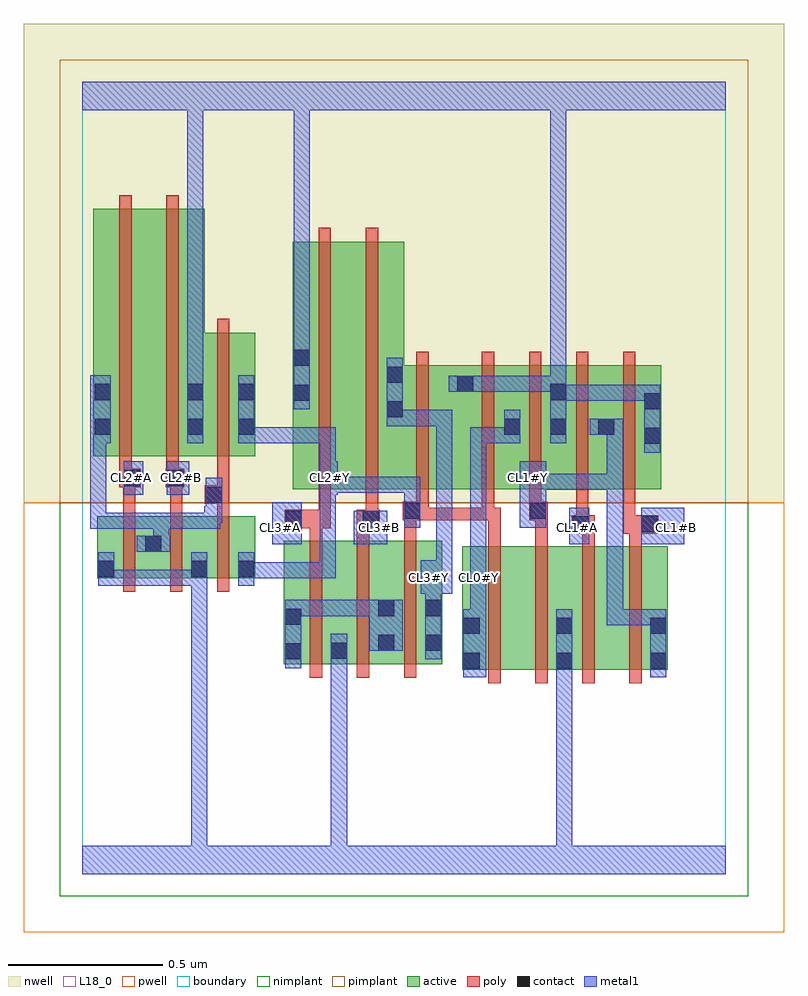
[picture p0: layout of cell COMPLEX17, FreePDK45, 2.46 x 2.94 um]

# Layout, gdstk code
import gdstk
lib = gdstk.Library(unit=1e-6, precision=1e-09)
def R(c, l, rs):  # rectangles x0, y0, x1, y1
    for r in rs: c.add(gdstk.rectangle(r[:2], r[2:], *l))
def A(c, l, x, y, w, h, nx, ny, dx, dy):  # array of equal rectangles
    R(c, l, [(x+i*dx, y+j*dy, x+i*dx+w, y+j*dy+h) for i in range(nx) for j in range(ny)])
active = (1, 0)
pwell = (2, 0)
nwell = (3, 0)
nimplant = (4, 0)
pimplant = (5, 0)
poly = (9, 0)
contact = (10, 0)
metal1 = (11, 0)
L18_0 = (18, 0)
boundary = (235, 0)

complex17 = lib.new_cell('COMPLEX17')
R(complex17, active, [(1.228,0.66,1.288,1.06), (1.228,0.66,1.408,1.06), (1.408,0.66,1.588,1.06), (1.528,0.66,1.588,1.06), (1.528,0.66,1.712,1.06), (1.712,0.66,1.892,1.06), (1.832,0.66,1.892,1.06), (0.652,0.678,0.712,1.078), (0.652,0.678,0.86,1.078), (0.8,0.678,1.012,1.078), (0.8,0.678,0.86,0.874), (0.952,0.678,1.164,1.078), (0.952,0.678,1.012,1.012), (1.104,0.678,1.164,1.078), (0.048,0.956,0.108,1.156), (0.048,0.956,0.26,1.156), (0.2,0.956,0.26,1.156), (0.2,0.956,0.408,1.156), (0.348,0.956,0.408,1.156), (0.348,0.956,0.56,1.156), (0.5,0.956,0.56,1.156), (0.68,1.244,0.86,2.044), (0.68,1.244,0.74,2.044), (0.86,1.244,1.04,2.044), (0.98,1.244,1.268,1.644), (1.208,1.244,1.42,1.644), (1.36,1.244,1.42,1.644), (1.36,1.244,1.568,1.644), (1.508,1.244,1.724,1.644), (1.664,1.244,1.872,1.644), (1.812,1.244,1.872,1.644), (0.036,1.35,0.216,2.15), (0.036,1.35,0.096,2.044), (0.216,1.35,0.396,2.15), (0.336,1.35,0.56,1.75), (0.5,1.35,0.56,1.644), (1.508,1.388,1.568,1.644), (0.98,1.39,1.04,2.044), (0.336,1.416,0.396,1.644), (1.664,1.416,1.724,1.644), (1.208,1.498,1.268,1.644)])
R(complex17, pwell, [(-0.188,-0.188,2.268,1.2)])
R(complex17, nwell, [(-0.188,1.2,2.268,2.748)])
R(complex17, nimplant, [(-0.072,-0.072,2.152,1.2)])
R(complex17, pimplant, [(-0.072,1.2,2.152,2.632)])
A(complex17, poly, 1.312, 0.616, 0.04, 0.488, 4, 1, 0.152, 0)
A(complex17, poly, 0.736, 0.634, 0.04, 0.488, 3, 1, 0.152, 0)
A(complex17, poly, 0.132, 0.912, 0.04, 0.288, 3, 1, 0.152, 0)
A(complex17, poly, 1.292, 1.2, 0.04, 0.488, 4, 1, 0.152, 0)
R(complex17, poly, [(1.312,1.064,1.352,1.184), (1.464,1.064,1.504,1.184), (1.616,1.064,1.656,1.14), (1.768,1.064,1.808,1.14), (0.736,1.082,0.776,1.158), (0.888,1.082,0.928,1.158), (1.04,1.082,1.08,1.184), (1.582,1.1,1.656,1.16), (1.748,1.1,1.862,1.16), (1.768,1.1,1.808,1.14), (1.768,1.1,1.808,1.14), (0.654,1.118,0.804,1.178), (0.736,1.118,0.776,1.158), (0.736,1.118,0.776,1.158), (0.888,1.118,0.962,1.178), (1.596,1.12,1.636,1.24), (1.596,1.12,1.636,1.16), (1.596,1.12,1.636,1.16), (1.748,1.12,1.788,1.24), (0.764,1.138,0.804,1.24), (0.916,1.138,0.956,1.178), (0.916,1.138,0.956,1.178), (0.916,1.138,0.956,1.24), (1.036,1.144,1.12,1.204), (1.04,1.144,1.08,1.184), (1.04,1.144,1.08,1.184), (1.04,1.144,1.08,1.184), (1.04,1.144,1.08,1.184), (1.04,1.144,1.332,1.184), (1.292,1.144,1.332,1.184), (1.292,1.144,1.332,1.184), (1.292,1.144,1.332,1.184), (1.292,1.144,1.332,1.184), (1.292,1.144,1.332,1.24), (1.292,1.144,1.352,1.184), (1.444,1.144,1.504,1.204), (1.464,1.144,1.504,1.184), (1.464,1.144,1.504,1.184), (0.132,1.16,0.172,1.29), (0.284,1.16,0.324,1.29), (0.436,1.16,0.476,1.236), (1.08,1.164,1.12,1.24), (1.444,1.164,1.484,1.24), (0.396,1.196,0.476,1.256), (0.764,1.2,0.804,2.088), (0.916,1.2,0.956,2.088), (1.08,1.2,1.12,1.688), (0.436,1.216,0.476,1.256), (0.436,1.216,0.476,1.256), (0.436,1.216,0.476,1.346), (0.12,1.25,0.19,1.31), (0.132,1.25,0.172,1.29), (0.132,1.25,0.172,1.29), (0.27,1.25,0.33,1.31), (0.284,1.25,0.324,1.29), (0.284,1.25,0.324,1.29), (0.12,1.27,0.16,1.346), (0.272,1.27,0.312,1.346), (0.12,1.306,0.16,2.194), (0.272,1.306,0.312,2.194), (0.436,1.306,0.476,1.794)])
R(complex17, contact, [(1.232,0.664,1.284,0.716), (1.532,0.664,1.584,0.716), (1.836,0.664,1.888,0.716), (0.656,0.694,0.708,0.746), (0.804,0.696,0.856,0.748), (0.956,0.722,1.008,0.774), (1.108,0.722,1.16,0.774), (1.232,0.776,1.284,0.828), (1.532,0.776,1.584,0.828), (1.836,0.776,1.888,0.828), (0.656,0.806,0.708,0.858), (0.956,0.834,1.008,0.886), (1.108,0.834,1.16,0.886), (0.052,0.96,0.104,1.012), (0.352,0.96,0.404,1.012), (0.504,0.96,0.556,1.012), (0.204,1.042,0.256,1.094), (1.586,1.104,1.638,1.156), (1.806,1.104,1.858,1.156), (0.658,1.122,0.71,1.174), (0.906,1.122,0.958,1.174), (1.04,1.148,1.092,1.2), (1.448,1.148,1.5,1.2), (0.4,1.2,0.452,1.252), (0.134,1.254,0.186,1.306), (0.274,1.254,0.326,1.306), (1.816,1.39,1.868,1.442), (0.04,1.42,0.092,1.472), (0.34,1.42,0.392,1.472), (0.504,1.42,0.556,1.472), (1.364,1.42,1.416,1.472), (1.512,1.42,1.564,1.472), (1.668,1.42,1.72,1.472), (0.984,1.476,1.036,1.528), (1.816,1.502,1.868,1.554), (0.684,1.53,0.736,1.582), (0.04,1.532,0.092,1.584), (0.34,1.532,0.392,1.584), (0.504,1.532,0.556,1.584), (1.512,1.532,1.564,1.584), (1.212,1.558,1.264,1.61), (0.984,1.588,1.036,1.64), (0.684,1.642,0.736,1.694)])
R(complex17, metal1, [(0,0,2.08,0.092), (0.352,0.04,0.404,0.092), (0.352,0.04,0.404,0.092), (0.352,0.04,0.404,0.092), (0.352,0.04,0.404,0.092), (0.352,0.04,0.404,0.092), (0.352,0.04,0.404,0.092), (0.352,0.04,0.404,0.092), (0.352,0.04,0.404,0.092), (0.352,0.04,0.404,0.092), (0.352,0.04,0.404,0.092), (0.352,0.04,0.404,0.092), (0.352,0.04,0.404,0.092), (0.352,0.04,0.404,0.092), (0.352,0.04,0.404,0.092), (0.352,0.04,0.404,0.092), (0.352,0.04,0.404,0.092), (0.352,0.04,0.404,0.984), (0.804,0.04,0.856,0.092), (0.804,0.04,0.856,0.092), (0.804,0.04,0.856,0.092), (0.804,0.04,0.856,0.092), (0.804,0.04,0.856,0.092), (0.804,0.04,0.856,0.092), (0.804,0.04,0.856,0.092), (0.804,0.04,0.856,0.092), (0.804,0.04,0.856,0.092), (0.804,0.04,0.856,0.092), (0.804,0.04,0.856,0.092), (0.804,0.04,0.856,0.092), (0.804,0.04,0.856,0.72), (1.532,0.04,1.584,0.092), (1.532,0.04,1.584,0.092), (1.532,0.04,1.584,0.092), (1.532,0.04,1.584,0.092), (1.532,0.04,1.584,0.092), (1.532,0.04,1.584,0.092), (1.532,0.04,1.584,0.092), (1.532,0.04,1.584,0.092), (1.532,0.04,1.584,0.092), (1.532,0.04,1.584,0.092), (1.532,0.04,1.584,0.092), (1.532,0.04,1.584,0.092), (1.532,0.04,1.584,0.688), (1.232,0.636,1.306,0.856), (1.532,0.636,1.584,0.856), (1.836,0.636,1.888,0.856), (0.656,0.666,0.708,0.886), (0.804,0.668,0.856,0.776), (1.108,0.694,1.16,0.914), (0.928,0.722,1.036,0.886), (1.254,0.804,1.306,0.958), (1.696,0.804,1.748,0.856), (1.696,0.804,1.888,0.856), (1.696,0.804,1.748,1.294), (1.836,0.804,1.888,0.856), (1.836,0.804,1.888,0.856), (1.836,0.804,1.888,0.856), (1.836,0.804,1.888,0.856), (0.656,0.834,0.818,0.886), (0.766,0.834,0.818,0.886), (0.766,0.834,0.818,0.886), (0.766,0.834,0.818,0.886), (0.766,0.834,0.98,0.886), (0.928,0.834,0.98,0.886), (0.928,0.834,0.98,0.886), (1.108,0.862,1.16,0.958), (1.094,0.906,1.196,1.014), (1.254,0.906,1.306,1.014), (0.052,0.932,0.104,0.984), (0.052,0.932,0.104,0.984), (0.052,0.932,0.214,0.984), (0.052,0.932,0.104,1.04), (0.162,0.932,0.214,0.984), (0.162,0.932,0.214,0.984), (0.162,0.932,0.214,0.984), (0.162,0.932,0.404,0.984), (0.352,0.932,0.404,1.04), (0.504,0.932,0.556,1.04), (0.504,0.956,0.708,1.008), (0.504,0.956,0.556,1.04), (0.656,0.956,0.708,1.008), (0.656,0.956,0.82,1.008), (0.768,0.956,0.82,1.008), (0.768,0.956,0.82,1.008), (0.768,0.956,0.82,1.008), (0.768,0.956,0.82,1.278), (1.144,0.962,1.196,1.014), (1.144,0.962,1.196,1.014), (1.144,0.962,1.196,1.5), (1.254,0.962,1.306,1.014), (1.254,0.962,1.306,1.014), (1.254,0.962,1.306,1.444), (0.504,0.988,0.556,1.04), (0.176,1.042,0.284,1.094), (0.23,1.042,0.282,1.168), (0.614,1.066,0.71,1.202), (0.878,1.066,0.986,1.174), (1.574,1.066,1.638,1.184), (1.806,1.066,1.946,1.184), (0.026,1.116,0.078,1.168), (0.026,1.116,0.078,1.168), (0.026,1.116,0.078,1.168), (0.026,1.116,0.078,1.168), (0.026,1.116,0.078,1.168), (0.026,1.116,0.282,1.168), (0.026,1.116,0.078,1.444), (0.23,1.116,0.282,1.168), (0.23,1.116,0.282,1.168), (0.23,1.116,0.282,1.168), (0.23,1.116,0.446,1.168), (0.394,1.116,0.446,1.188), (1.04,1.12,1.092,1.284), (1.414,1.12,1.5,1.334), (0.394,1.136,0.452,1.188), (0.4,1.136,0.452,1.28), (0.134,1.226,0.198,1.334), (0.274,1.226,0.346,1.334), (0.768,1.226,0.826,1.334), (0.774,1.232,0.936,1.284), (0.884,1.232,0.936,1.284), (0.884,1.232,0.936,1.284), (0.884,1.232,0.936,1.284), (0.884,1.232,1.092,1.284), (1.448,1.242,1.564,1.294), (1.512,1.242,1.564,1.294), (1.512,1.242,1.748,1.294), (1.696,1.242,1.748,1.294), (1.696,1.242,1.748,1.294), (1.696,1.242,1.748,1.294), (1.696,1.242,1.748,1.472), (0.768,1.282,0.82,1.444), (1.816,1.362,1.868,1.582), (0.026,1.392,0.092,1.612), (0.34,1.392,0.392,1.612), (0.504,1.392,0.556,1.612), (0.504,1.392,0.666,1.444), (0.614,1.392,0.666,1.444), (0.614,1.392,0.666,1.444), (0.614,1.392,0.666,1.444), (0.614,1.392,0.82,1.444), (0.768,1.392,0.82,1.444), (1.254,1.392,1.306,1.444), (1.254,1.392,1.306,1.444), (1.254,1.392,1.306,1.444), (1.254,1.392,1.416,1.444), (1.364,1.392,1.416,1.5), (1.512,1.392,1.564,1.612), (1.64,1.42,1.748,1.472), (0.984,1.448,1.036,1.668), (0.984,1.448,1.126,1.5), (1.074,1.448,1.126,1.5), (1.074,1.448,1.196,1.5), (1.144,1.448,1.196,1.5), (0.684,1.502,0.736,1.722), (1.512,1.53,1.674,1.582), (1.622,1.53,1.674,1.582), (1.622,1.53,1.674,1.582), (1.622,1.53,1.674,1.582), (1.622,1.53,1.868,1.582), (1.816,1.53,1.868,1.582), (1.816,1.53,1.868,1.582), (1.184,1.558,1.292,1.61), (1.24,1.558,1.306,1.61), (1.254,1.558,1.306,1.61), (1.254,1.558,1.454,1.61), (1.402,1.558,1.454,1.61), (1.402,1.558,1.454,1.61), (1.402,1.558,1.454,1.61), (1.402,1.558,1.564,1.61), (0.34,1.56,0.392,2.52), (1.512,1.56,1.564,1.612), (1.512,1.56,1.564,1.612), (1.512,1.56,1.564,1.612), (1.512,1.56,1.564,1.612), (1.512,1.56,1.564,1.612), (1.512,1.56,1.564,1.612), (1.512,1.56,1.564,1.612), (1.512,1.56,1.564,1.612), (1.512,1.56,1.564,1.612), (1.512,1.56,1.564,1.612), (1.512,1.56,1.564,1.612), (1.512,1.56,1.564,1.612), (1.512,1.56,1.564,2.52), (0.684,1.67,0.736,2.52), (0,2.468,2.08,2.56), (0.34,2.468,0.392,2.52), (0.34,2.468,0.392,2.52), (0.34,2.468,0.392,2.52), (0.34,2.468,0.392,2.52), (0.34,2.468,0.392,2.52), (0.34,2.468,0.392,2.52), (0.34,2.468,0.392,2.52), (0.34,2.468,0.392,2.52), (0.684,2.468,0.736,2.52), (0.684,2.468,0.736,2.52), (0.684,2.468,0.736,2.52), (0.684,2.468,0.736,2.52), (0.684,2.468,0.736,2.52), (0.684,2.468,0.736,2.52), (0.684,2.468,0.736,2.52), (0.684,2.468,0.736,2.52), (1.512,2.468,1.564,2.52), (1.512,2.468,1.564,2.52), (1.512,2.468,1.564,2.52), (1.512,2.468,1.564,2.52)])
R(complex17, L18_0, [(0,0,2.08,0.092), (0.352,0.04,0.404,0.092), (0.352,0.04,0.404,0.092), (0.352,0.04,0.404,0.092), (0.352,0.04,0.404,0.092), (0.352,0.04,0.404,0.092), (0.352,0.04,0.404,0.092), (0.352,0.04,0.404,0.092), (0.352,0.04,0.404,0.092), (0.352,0.04,0.404,0.092), (0.352,0.04,0.404,0.092), (0.352,0.04,0.404,0.092), (0.352,0.04,0.404,0.092), (0.352,0.04,0.404,0.092), (0.352,0.04,0.404,0.092), (0.352,0.04,0.404,0.092), (0.352,0.04,0.404,0.092), (0.352,0.04,0.404,0.984), (0.804,0.04,0.856,0.092), (0.804,0.04,0.856,0.092), (0.804,0.04,0.856,0.092), (0.804,0.04,0.856,0.092), (0.804,0.04,0.856,0.092), (0.804,0.04,0.856,0.092), (0.804,0.04,0.856,0.092), (0.804,0.04,0.856,0.092), (0.804,0.04,0.856,0.092), (0.804,0.04,0.856,0.092), (0.804,0.04,0.856,0.092), (0.804,0.04,0.856,0.092), (0.804,0.04,0.856,0.72), (1.532,0.04,1.584,0.092), (1.532,0.04,1.584,0.092), (1.532,0.04,1.584,0.092), (1.532,0.04,1.584,0.092), (1.532,0.04,1.584,0.092), (1.532,0.04,1.584,0.092), (1.532,0.04,1.584,0.092), (1.532,0.04,1.584,0.092), (1.532,0.04,1.584,0.092), (1.532,0.04,1.584,0.092), (1.532,0.04,1.584,0.092), (1.532,0.04,1.584,0.092), (1.532,0.04,1.584,0.688), (1.232,0.636,1.306,0.856), (1.532,0.636,1.584,0.856), (1.836,0.636,1.888,0.856), (0.804,0.668,0.856,0.776), (1.108,0.694,1.16,0.914), (1.254,0.804,1.306,0.958), (1.696,0.804,1.748,0.856), (1.696,0.804,1.748,1.294), (1.696,0.804,1.888,0.856), (1.836,0.804,1.888,0.856), (1.836,0.804,1.888,0.856), (1.836,0.804,1.888,0.856), (1.836,0.804,1.888,0.856), (1.108,0.862,1.16,0.958), (1.094,0.906,1.196,1.014), (1.254,0.906,1.306,1.014), (0.052,0.932,0.104,1.04), (0.052,0.932,0.104,0.984), (0.052,0.932,0.104,0.984), (0.052,0.932,0.214,0.984), (0.162,0.932,0.214,0.984), (0.162,0.932,0.214,0.984), (0.162,0.932,0.214,0.984), (0.162,0.932,0.404,0.984), (0.352,0.932,0.404,1.04), (0.504,0.932,0.556,1.04), (1.094,0.934,1.146,0.986), (1.254,0.934,1.306,0.986), (0.504,0.956,0.556,1.04), (0.504,0.956,0.708,1.008), (0.656,0.956,0.708,1.008), (0.656,0.956,0.82,1.008), (0.768,0.956,0.82,1.008), (0.768,0.956,0.82,1.008), (0.768,0.956,0.82,1.008), (0.768,0.956,0.82,1.278), (1.144,0.962,1.196,1.014), (1.144,0.962,1.196,1.014), (1.144,0.962,1.196,1.5), (1.254,0.962,1.306,1.014), (1.254,0.962,1.306,1.014), (1.254,0.962,1.306,1.444), (0.504,0.988,0.556,1.04), (0.614,1.066,0.71,1.202), (0.878,1.066,0.986,1.174), (1.574,1.066,1.638,1.184), (1.806,1.066,1.946,1.184), (0.614,1.094,0.666,1.146), (0.934,1.094,0.986,1.146), (1.574,1.094,1.626,1.146), (1.894,1.094,1.946,1.146), (1.04,1.12,1.092,1.284), (1.414,1.12,1.5,1.334), (0.134,1.226,0.198,1.334), (0.274,1.226,0.346,1.334), (0.768,1.226,0.826,1.334), (0.774,1.232,0.936,1.284), (0.884,1.232,0.936,1.284), (0.884,1.232,0.936,1.284), (0.884,1.232,0.936,1.284), (0.884,1.232,1.092,1.284), (1.448,1.242,1.564,1.294), (1.512,1.242,1.564,1.294), (1.512,1.242,1.748,1.294), (1.696,1.242,1.748,1.294), (1.696,1.242,1.748,1.294), (1.696,1.242,1.748,1.294), (1.696,1.242,1.748,1.472), (0.134,1.254,0.186,1.306), (0.294,1.254,0.346,1.306), (0.774,1.254,0.826,1.306), (1.414,1.254,1.466,1.306), (0.768,1.282,0.82,1.444), (1.816,1.362,1.868,1.582), (0.34,1.392,0.392,1.612), (0.504,1.392,0.666,1.444), (0.504,1.392,0.556,1.612), (0.614,1.392,0.666,1.444), (0.614,1.392,0.666,1.444), (0.614,1.392,0.666,1.444), (0.614,1.392,0.82,1.444), (0.768,1.392,0.82,1.444), (1.254,1.392,1.306,1.444), (1.254,1.392,1.306,1.444), (1.254,1.392,1.306,1.444), (1.254,1.392,1.416,1.444), (1.364,1.392,1.416,1.5), (1.512,1.392,1.564,1.612), (1.64,1.42,1.748,1.472), (0.984,1.448,1.036,1.668), (0.984,1.448,1.126,1.5), (1.074,1.448,1.126,1.5), (1.074,1.448,1.196,1.5), (1.144,1.448,1.196,1.5), (0.684,1.502,0.736,1.722), (1.512,1.53,1.674,1.582), (1.622,1.53,1.674,1.582), (1.622,1.53,1.674,1.582), (1.622,1.53,1.674,1.582), (1.622,1.53,1.868,1.582), (1.816,1.53,1.868,1.582), (1.816,1.53,1.868,1.582), (1.184,1.558,1.292,1.61), (1.24,1.558,1.306,1.61), (1.254,1.558,1.306,1.61), (1.254,1.558,1.454,1.61), (1.402,1.558,1.454,1.61), (1.402,1.558,1.454,1.61), (1.402,1.558,1.454,1.61), (1.402,1.558,1.564,1.61), (0.34,1.56,0.392,2.52), (1.512,1.56,1.564,1.612), (1.512,1.56,1.564,1.612), (1.512,1.56,1.564,1.612), (1.512,1.56,1.564,1.612), (1.512,1.56,1.564,1.612), (1.512,1.56,1.564,1.612), (1.512,1.56,1.564,1.612), (1.512,1.56,1.564,1.612), (1.512,1.56,1.564,1.612), (1.512,1.56,1.564,1.612), (1.512,1.56,1.564,1.612), (1.512,1.56,1.564,1.612), (1.512,1.56,1.564,2.52), (0.684,1.67,0.736,2.52), (0,2.468,2.08,2.56), (0.34,2.468,0.392,2.52), (0.34,2.468,0.392,2.52), (0.34,2.468,0.392,2.52), (0.34,2.468,0.392,2.52), (0.34,2.468,0.392,2.52), (0.34,2.468,0.392,2.52), (0.34,2.468,0.392,2.52), (0.34,2.468,0.392,2.52), (0.684,2.468,0.736,2.52), (0.684,2.468,0.736,2.52), (0.684,2.468,0.736,2.52), (0.684,2.468,0.736,2.52), (0.684,2.468,0.736,2.52), (0.684,2.468,0.736,2.52), (0.684,2.468,0.736,2.52), (0.684,2.468,0.736,2.52), (1.512,2.468,1.564,2.52), (1.512,2.468,1.564,2.52), (1.512,2.468,1.564,2.52), (1.512,2.468,1.564,2.52)])
R(complex17, boundary, [(0,0,2.08,2.56)])
complex17.add(gdstk.Label('CL0#Y', (1.28,0.96), layer=11, texttype=0))
complex17.add(gdstk.Label('CL1#A', (1.6,1.12), layer=11, texttype=0))
complex17.add(gdstk.Label('CL1#B', (1.92,1.12), layer=11, texttype=0))
complex17.add(gdstk.Label('CL1#Y', (1.44,1.28), layer=11, texttype=0))
complex17.add(gdstk.Label('CL2#A', (0.16,1.28), layer=11, texttype=0))
complex17.add(gdstk.Label('CL2#B', (0.32,1.28), layer=11, texttype=0))
complex17.add(gdstk.Label('CL2#Y', (0.8,1.28), layer=11, texttype=0))
complex17.add(gdstk.Label('CL3#A', (0.64,1.12), layer=11, texttype=0))
complex17.add(gdstk.Label('CL3#B', (0.96,1.12), layer=11, texttype=0))
complex17.add(gdstk.Label('CL3#Y', (1.12,0.96), layer=11, texttype=0))

lib.write_gds('COMPLEX17.gds')
